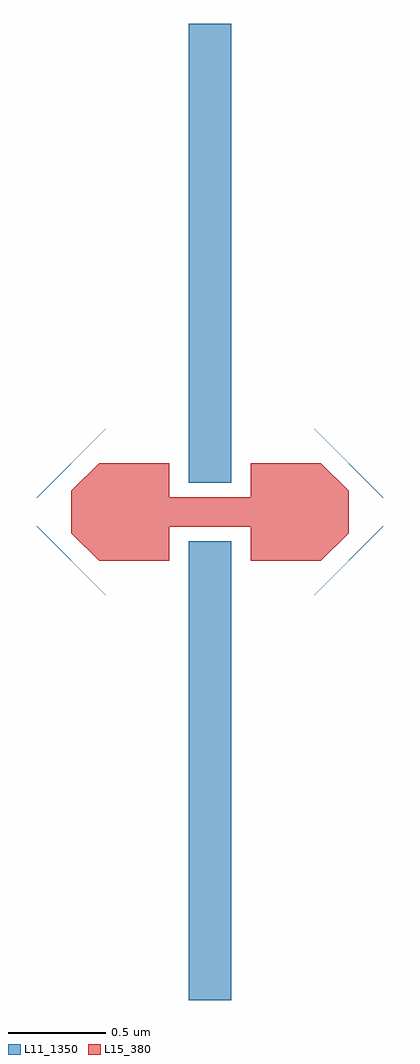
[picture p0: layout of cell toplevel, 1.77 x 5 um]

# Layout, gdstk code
from math import pi, radians
import gdstk
lib = gdstk.Library(unit=1e-6, precision=1e-09)
def R(c, l, rs):  # rectangles x0, y0, x1, y1
    for r in rs: c.add(gdstk.rectangle(r[:2], r[2:], *l))
def P(c, l, *ps):  # polygons
    for p in ps: c.add(gdstk.Polygon(p, *l))
L11_1350 = (11, 1350)
L15_380 = (15, 380)

boolean = lib.new_cell('boolean')
R(boolean, L11_1350, [(-0.11,-2.5,0.11,-0.15), (-0.11,0.15,0.11,2.5)])

junction = lib.new_cell('Junction')
junction.add(gdstk.Reference(boolean, (0,0)))

rectangle = lib.new_cell('rectangle')
P(rectangle, L11_1350, [(0.534,0.427),(0.887,0.074),(0.886,0.073),(0.533,0.426)])

boolean002 = lib.new_cell('boolean002')
P(boolean002, L15_380, [(-0.21,-0.075),(0.21,-0.075),(0.21,-0.25),(0.568,-0.25),(0.71,-0.108),(0.71,0.108),(0.568,0.25),(0.21,0.25),(0.21,0.075),(-0.21,0.075),(-0.21,0.25),(-0.568,0.25),(-0.71,0.108),(-0.71,-0.108),(-0.568,-0.25),(-0.21,-0.25)])

h_undercut_with_slits = lib.new_cell('H undercut with slits')
h_undercut_with_slits.add(gdstk.Reference(rectangle, (0,0)))
h_undercut_with_slits.add(gdstk.Reference(rectangle, (0,0), x_reflection=True))
h_undercut_with_slits.add(gdstk.Reference(rectangle, (0,0), rotation=pi, x_reflection=True))
h_undercut_with_slits.add(gdstk.Reference(rectangle, (0,0), rotation=pi))
h_undercut_with_slits.add(gdstk.Reference(boolean002, (0,0)))

toplevel = lib.new_cell('toplevel')
toplevel.add(gdstk.Reference(junction, (0,0)))
toplevel.add(gdstk.Reference(h_undercut_with_slits, (0,0)))

lib.write_gds('toplevel.gds')
